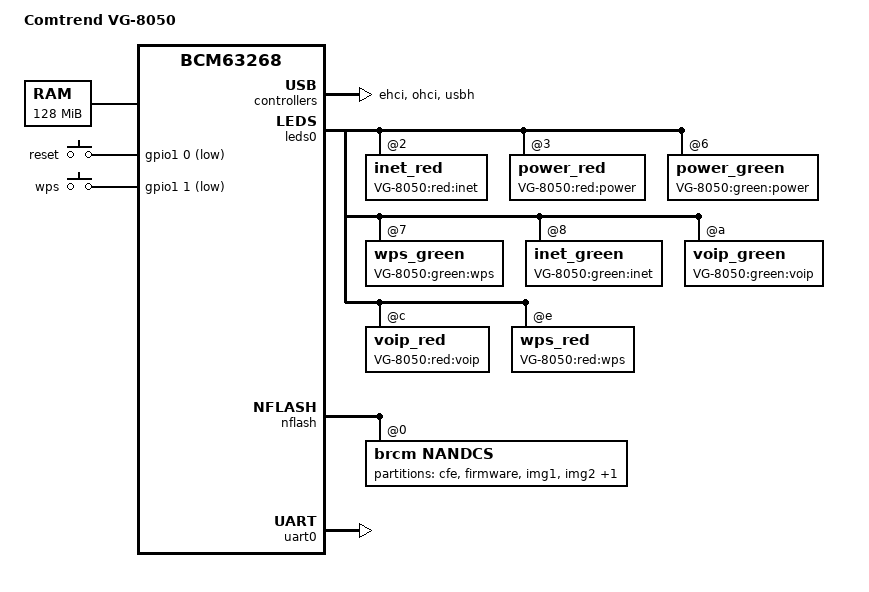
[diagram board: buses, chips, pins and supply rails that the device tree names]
/dts-v1/;

#include "bcm63268.dtsi"

/ {
	compatible = "comtrend,vg-8050", "brcm,bcm63268";
	model = "Comtrend VG-8050";

	chosen {
		bootargs = "console=ttyS0,115200 earlycon";
	};

	aliases {
		led-boot = &power_green;
		led-failsafe = &power_red;
		led-running = &power_green;

		led-internet = &inet_green;
	};

	memory@0 {
		device_type = "memory";
		reg = <0x00000000 0x08000000>;
	};

	gpio-keys-polled {
		compatible = "gpio-keys-polled";
		#address-cells = <1>;
		#size-cells = <0>;
		poll-interval = <20>;
		debounce-interval = <60>;

		reset {
			label = "reset";
			gpios = <&gpio1 0 GPIO_ACTIVE_LOW>;
			linux,code = <KEY_RESTART>;
		};
		wps {
			label = "wps";
			gpios = <&gpio1 1 GPIO_ACTIVE_LOW>;
			linux,code = <KEY_WPS_BUTTON>;
		};
	};
};

&ehci {
	status = "ok";
};

&leds0 {
	status = "ok";
	brcm,serial-leds;
	brcm,serial-dat-low;
	brcm,serial-shift-inv;

	inet_red@2 {
		reg = <2>;
		active-low;
		label = "VG-8050:red:inet";
	};
	power_red: power_red@3 {
		reg = <3>;
		active-low;
		label = "VG-8050:red:power";
	};
	power_green: power_green@6 {
		reg = <6>;
		active-low;
		label = "VG-8050:green:power";
		default-state = "on";
	};
	wps_green@7 {
		reg = <7>;
		active-low;
		label = "VG-8050:green:wps";
	};
	inet_green: inet_green@8 {
		reg = <8>;
		active-low;
		label = "VG-8050:green:inet";
	};
	voip_green@10 {
		reg = <10>;
		active-low;
		label = "VG-8050:green:voip";
	};
	voip_red@12 {
		reg = <12>;
		active-low;
		label = "VG-8050:red:voip";
	};
	wps_red@14 {
		reg = <14>;
		active-low;
		label = "VG-8050:red:wps";
	};
};

&nflash {
	status = "ok";

	nandcs@0 {
		compatible = "brcm,nandcs";
		reg = <0>;
		nand-ecc-step-size = <512>;
		nand-ecc-strength = <15>;
		nand-on-flash-bbt;
		brcm,nand-oob-sector-size = <64>;

		partitions {
			compatible = "fixed-partitions";
			#address-cells = <1>;
			#size-cells = <1>;

			cfe@0 {
				label = "cfe";
				reg = <0x0000000 0x0020000>;
				read-only;
			};
			firmware@20000 {
				label = "firmware";
				reg = <0x0020000 0x7ae0000>;
				read-only;
			};
			img1@20000 {
				label = "img1";
				reg = <0x0020000 0x3d60000>;
				read-only;
			};
			img2@3d80000 {
				label = "img2";
				reg = <0x3d80000 0x3d80000>;
				read-only;
			};
			data@7b00000 {
				label = "data";
				reg = <0x7b00000 0x0400000>;
				read-only;
			};
		};
	};
};

&ohci {
	status = "ok";
};

&uart0 {
	status = "ok";
};

&usbh {
	status = "ok";
};
